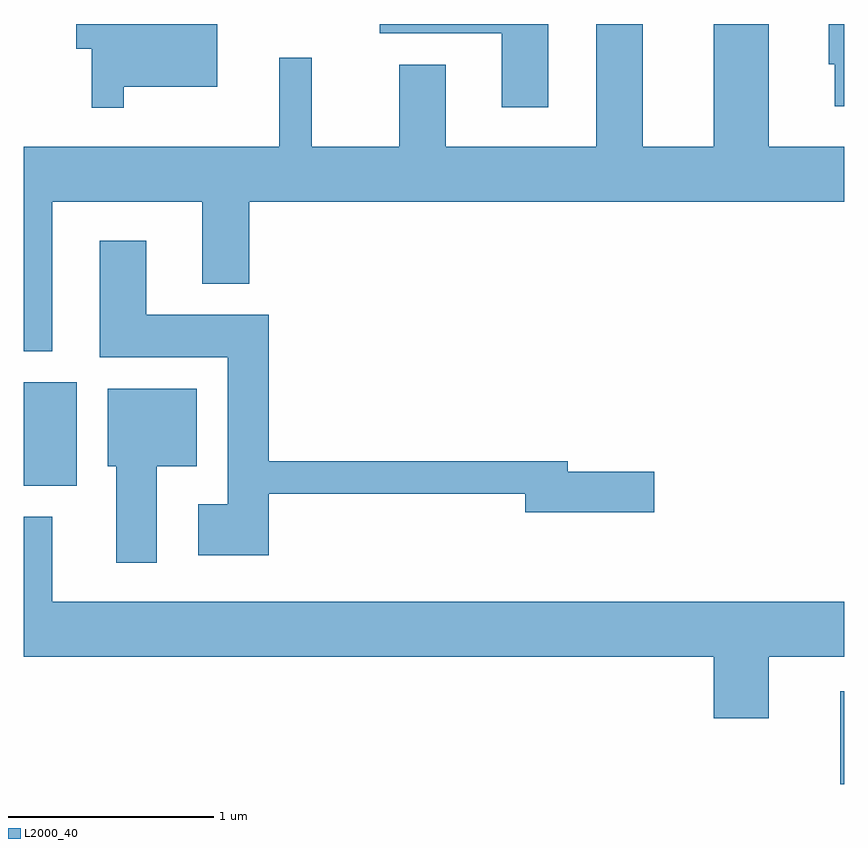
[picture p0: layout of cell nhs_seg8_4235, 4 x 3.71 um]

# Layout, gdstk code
import gdstk
lib = gdstk.Library(unit=1e-6, precision=1e-09)
def R(c, l, rs):  # rectangles x0, y0, x1, y1
    for r in rs: c.add(gdstk.rectangle(r[:2], r[2:], *l))
def P(c, l, *ps):  # polygons
    for p in ps: c.add(gdstk.Polygon(p, *l))
L2000_40 = (2000, 40)

nhs_seg8_4235 = lib.new_cell('nhs_seg8_4235')
R(nhs_seg8_4235, L2000_40, [(315.591,1884.636,315.611,1885.089), (311.611,1886.091,311.869,1886.594)])
P(nhs_seg8_4235, L2000_40, [(311.749,1887.476),(312.481,1887.476),(312.481,1887.076),(312.709,1887.076),(312.709,1887.476),(315.611,1887.476),(315.611,1887.744),(315.244,1887.744),(315.244,1888.342),(314.976,1888.342),(314.976,1887.744),(314.629,1887.744),(314.629,1888.342),(314.401,1888.342),(314.401,1887.744),(313.669,1887.744),(313.669,1888.144),(313.441,1888.144),(313.441,1887.744),(313.014,1887.744),(313.014,1888.178),(312.856,1888.178),(312.856,1887.744),(311.611,1887.744),(311.611,1886.746),(311.749,1886.746)],
  [(315.611,1888.342),(315.536,1888.342),(315.536,1888.146),(315.566,1888.146),(315.566,1887.941),(315.611,1887.941)],
  [(312.099,1888.036),(312.554,1888.036),(312.554,1888.342),(311.866,1888.342),(311.866,1888.221),(311.941,1888.221),(311.941,1887.933),(312.099,1887.933)],
  [(314.169,1888.342),(313.346,1888.342),(313.346,1888.296),(313.941,1888.296),(313.941,1887.936),(314.169,1887.936)],
  [(312.804,1886.051),(314.056,1886.051),(314.056,1885.961),(314.684,1885.961),(314.684,1886.159),(314.264,1886.159),(314.264,1886.209),(312.804,1886.209),(312.804,1886.924),(312.209,1886.924),(312.209,1887.284),(311.981,1887.284),(311.981,1886.716),(312.606,1886.716),(312.606,1885.999),(312.461,1885.999),(312.461,1885.751),(312.804,1885.751)],
  [(312.259,1886.186),(312.454,1886.186),(312.454,1886.564),(312.021,1886.564),(312.021,1886.186),(312.061,1886.186),(312.061,1885.716),(312.259,1885.716)],
  [(315.244,1885.256),(315.611,1885.256),(315.611,1885.524),(311.749,1885.524),(311.749,1885.939),(311.611,1885.939),(311.611,1885.256),(314.976,1885.256),(314.976,1884.956),(315.244,1884.956)])

lib.write_gds('nhs_seg8_4235.gds')
